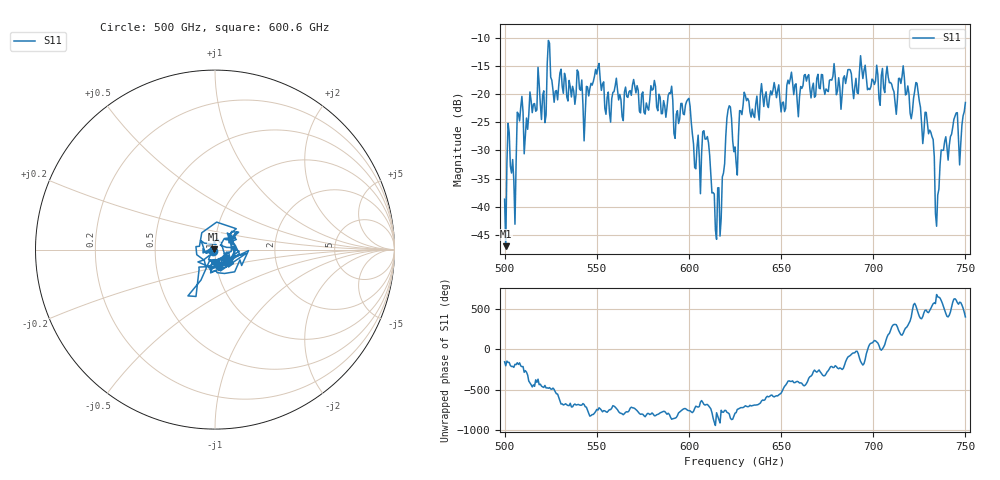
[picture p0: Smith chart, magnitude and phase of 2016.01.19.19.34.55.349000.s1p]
!Created with skrf (http://scikit-rf.org).
# GHz S RI R 50.0
!freq ReS11 ImS11
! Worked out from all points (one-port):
!   401 points, 500 GHz to 750 GHz, reference 50 ohm
!   lowest |S11| = -47.0 dB at 500.6 GHz (marker M1), VSWR 1.01, Z = 49.6 + j0.159 ohm
!   |S11| at or under -10 dB: start of sweep to end of sweep
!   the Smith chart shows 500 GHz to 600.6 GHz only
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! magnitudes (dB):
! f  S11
! 500 GHz  -38.7
! 500.6 GHz  -47.0
! 502.5 GHz  -26.8
! 505 GHz  -35.3
! 508.1 GHz  -24.8
! 521.2 GHz  -19.4
! 524.4 GHz  -11.0
! 527.5 GHz  -19.5
! 531.2 GHz  -18.7
! 562.5 GHz  -20.1
! 580.6 GHz  -19.1
! 593.8 GHz  -23.0
! 599.4 GHz  -21.0
! 605 GHz  -27.3
! 609.4 GHz  -28.0
! 615.6 GHz  -36.7
! 621.2 GHz  -22.8
! 625 GHz  -29.4
! 630.6 GHz  -20.3
! 656.2 GHz  -18.0
! 687.5 GHz  -15.7
! 718.8 GHz  -18.6
! 729.4 GHz  -25.3
! 735 GHz  -37.9
! 738.1 GHz  -30.0
! 744.4 GHz  -23.9
! 747.5 GHz  -28.7
! 750 GHz  -21.5
